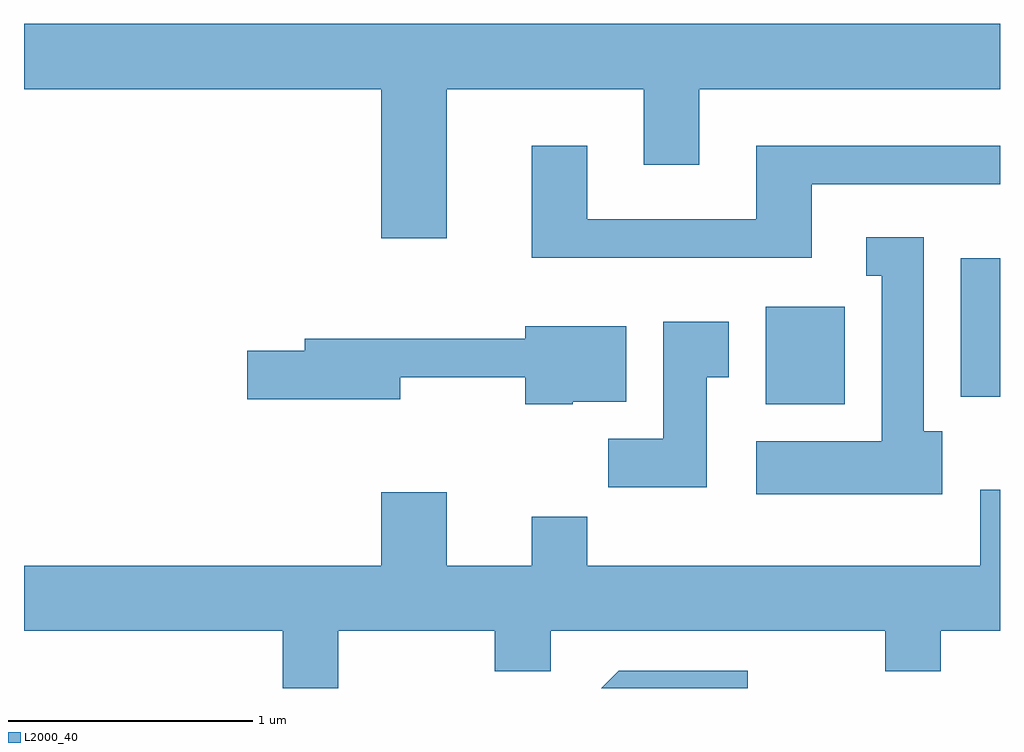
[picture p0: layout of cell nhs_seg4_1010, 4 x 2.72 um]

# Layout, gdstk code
import gdstk
lib = gdstk.Library(unit=1e-6, precision=1e-09)
def R(c, l, rs):  # rectangles x0, y0, x1, y1
    for r in rs: c.add(gdstk.rectangle(r[:2], r[2:], *l))
def P(c, l, *ps):  # polygons
    for p in ps: c.add(gdstk.Polygon(p, *l))
L2000_40 = (2000, 40)

nhs_seg4_1010 = lib.new_cell('nhs_seg4_1010')
R(nhs_seg4_1010, L2000_40, [(216.651,1371.146,216.974,1371.544), (217.451,1371.176,217.611,1371.744)])
P(nhs_seg4_1010, L2000_40, [(215.344,1372.436),(216.151,1372.436),(216.151,1372.126),(216.379,1372.126),(216.379,1372.436),(217.611,1372.436),(217.611,1372.704),(213.611,1372.704),(213.611,1372.436),(215.076,1372.436),(215.076,1371.826),(215.344,1371.826)],
  [(216.839,1372.046),(217.611,1372.046),(217.611,1372.204),(216.611,1372.204),(216.611,1371.904),(215.919,1371.904),(215.919,1372.204),(215.691,1372.204),(215.691,1371.746),(216.839,1371.746)],
  [(217.374,1371.034),(217.299,1371.034),(217.299,1371.829),(217.063,1371.829),(217.063,1371.671),(217.126,1371.671),(217.126,1370.994),(216.611,1370.994),(216.611,1370.776),(217.374,1370.776)],
  [(216.409,1371.256),(216.499,1371.256),(216.499,1371.484),(216.231,1371.484),(216.231,1371.004),(216.006,1371.004),(216.006,1370.806),(216.409,1370.806)],
  [(215.86,1371.156),(216.079,1371.156),(216.079,1371.464),(215.666,1371.464),(215.666,1371.414),(214.761,1371.414),(214.761,1371.364),(214.526,1371.364),(214.526,1371.166),(215.154,1371.166),(215.154,1371.256),(215.666,1371.256),(215.666,1371.146),(215.86,1371.146)],
  [(214.899,1370.216),(215.541,1370.216),(215.541,1370.051),(215.769,1370.051),(215.769,1370.216),(217.141,1370.216),(217.141,1370.051),(217.369,1370.051),(217.369,1370.216),(217.611,1370.216),(217.611,1370.794),(217.531,1370.794),(217.531,1370.484),(215.919,1370.484),(215.919,1370.684),(215.691,1370.684),(215.691,1370.484),(215.344,1370.484),(215.344,1370.784),(215.076,1370.784),(215.076,1370.484),(213.611,1370.484),(213.611,1370.216),(214.671,1370.216),(214.671,1369.982),(214.899,1369.982)],
  [(216.578,1370.054),(216.049,1370.054),(215.977,1369.982),(216.578,1369.982)])

lib.write_gds('nhs_seg4_1010.gds')
